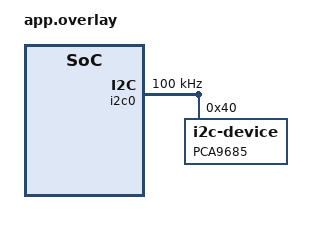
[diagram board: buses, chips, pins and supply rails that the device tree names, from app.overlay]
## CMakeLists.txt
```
cmake_minimum_required(VERSION 3.20.0)

find_package(Zephyr REQUIRED HINTS $ENV{ZEPHYR_BASE})

project(robot_arm_v3)

target_sources(app PRIVATE
    src/main.c
    src/servo.c
    src/servo_control.c
    src/wifi_manager.c
    src/tcp_transport.c
    src/websocket_layer.c
    src/app_callbacks.c
)
```

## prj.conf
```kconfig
# Enable I2C support
CONFIG_I2C=y

CONFIG_CBPRINTF_FP_SUPPORT=y

CONFIG_NETWORKING=y
CONFIG_NET_SOCKETS=y
# CONFIG_NET_SOCKETS_POSIX_NAMES=y
CONFIG_NET_IPV4=y
CONFIG_NET_TCP=y
CONFIG_NET_UDP=y

CONFIG_NET_CONNECTION_MANAGER=y
CONFIG_NET_DHCPV4=y

CONFIG_WIFI=y
CONFIG_WIFI_ESP32=y
CONFIG_MAIN_STACK_SIZE=10240
CONFIG_SYSTEM_WORKQUEUE_STACK_SIZE=8192
CONFIG_HEAP_MEM_POOL_SIZE=65536

CONFIG_LOG=n
CONFIG_PRINTK=y

CONFIG_SHELL=y
CONFIG_SHELL_BACKEND_SERIAL=y

CONFIG_NET_SHELL=y
CONFIG_NET_L2_WIFI_SHELL=y
```

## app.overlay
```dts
&i2c0 {
    status = "okay";
    clock-frequency = <I2C_BITRATE_STANDARD>;
    mysensor: mysensor@40 {
        status = "okay";
        compatible = "i2c-device";
        reg = <0x40>;
        label = "PCA9685";
    };
};
```

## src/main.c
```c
/* Robot Servo TCP firmware */

#include <zephyr/kernel.h>
#include <zephyr/sys/printk.h>

#include "app_callbacks.h"
#include "servo_control.h"
#include "tcp_transport.h"
#include "websocket_layer.h"
#include "wifi_manager.h"

#define TCP_LISTEN_PORT 4220

#define CONTROL_PERIOD_MS 10
#define CONTROL_THREAD_STACK_SIZE 2048
#define CONTROL_THREAD_PRIORITY 5

static K_SEM_DEFINE(control_tick_sem, 0, 1);
static struct k_timer control_timer;
static struct k_mutex control_lock;

K_THREAD_STACK_DEFINE(control_thread_stack, CONTROL_THREAD_STACK_SIZE);
static struct k_thread control_thread_data;

static void control_timer_handler(struct k_timer *timer_id)
{
	ARG_UNUSED(timer_id);
	k_sem_give(&control_tick_sem);
}

static void control_thread_fn(void *a, void *b, void *c)
{
	ARG_UNUSED(a);
	ARG_UNUSED(b);
	ARG_UNUSED(c);

	while (1) {
		k_sem_take(&control_tick_sem, K_FOREVER);

		k_mutex_lock(&control_lock, K_FOREVER);
		servo_control_update_outputs();
		k_mutex_unlock(&control_lock);
	}
}

int main(void)
{
	printk("Robot Servo firmware start\n");

	if (servo_control_init() != 0) {
		return -1;
	}

	if (wifi_manager_init() != 0) {
		return -1;
	}
	while (wifi_manager_connect() != 0) {
		printk("WiFi connect failed, retrying in 2 seconds...\n");
		k_sleep(K_SECONDS(2));
	}

	k_mutex_init(&control_lock);
	k_timer_init(&control_timer, control_timer_handler, NULL);

	/* Servo control thread, ticked every CONTROL_PERIOD_MS (10 ms = 100 Hz) */
	k_thread_create(&control_thread_data, control_thread_stack,
			K_THREAD_STACK_SIZEOF(control_thread_stack), control_thread_fn, NULL,
			NULL, NULL, CONTROL_THREAD_PRIORITY, 0, K_NO_WAIT);

	k_timer_start(&control_timer, K_NO_WAIT, K_MSEC(CONTROL_PERIOD_MS));

	app_ctx_t app_ctx = {
		.control_lock = &control_lock,
		.protocol_detected = false,
		.use_websocket = false,
		.ws_raw_len = 0,
		.ws_state = WS_STATE_CLOSED,
	};

	if (tcp_transport_start(TCP_LISTEN_PORT, app_on_tcp_connect, app_on_tcp_data,
				app_on_tcp_disconnect, &app_ctx) != 0) {
		return -1;
	}

	/* Heartbeat loop */
	while (1) {
		k_sleep(K_SECONDS(1));

		if (!wifi_manager_is_connected()) {
			printk("WiFi lost, reconnecting...\n");
			if (wifi_manager_reconnect_if_needed() == 0) {
				(void)tcp_transport_restart();
			}
		}
	}
}
```

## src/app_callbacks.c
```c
#include "app_callbacks.h"

#include <stdio.h>
#include <string.h>

#include <zephyr/kernel.h>
#include <zephyr/sys/printk.h>

#include "servo_control.h"
#include "tcp_transport.h"
#include "websocket_layer.h"

void handle_raw_packet(app_ctx_t *app, const uint8_t *data, size_t len);

/* Protocol V3 (FIRMWARE_CONTRACT.md rev 2): 19 bytes, XOR checksum, six
 * absolute servo angles (base|p1|p2|p3|roll|gripper). */
#define CONTROL_PACKET_MAGIC   0xA6U
#define CONTROL_PACKET_VERSION 0x03U
#define CONTROL_PACKET_LEN     19U
#define CONTROL_PACKET_MASK    0x3FU

static const char http_landing_page[] =
	"<!doctype html><html><head><meta charset=utf-8>"
	"<meta name=viewport content='width=device-width,initial-scale=1'>"
	"<title>Robot Arm V3</title>"
	"<style>body{font:16px sans-serif;margin:24px;background:#f4f7fb;color:#152033}"
	"button,input,select{font:inherit;margin:6px 0}label{display:block}#status{font-weight:700}"
	"</style></head><body><h1>Robot Arm V3</h1><p id=status>Disconnected</p>"
	"<button id=conn>Connect</button><button id=send disabled>Send packet</button>"
	"<label>Mode <select id=mode><option>A</option><option>H</option><option>M</option></select></label>"
	"<label>Base <input id=base type=range min=0 max=180 step=0.5 value=90></label>"
	"<label>P1 <input id=p1 type=range min=0 max=100 step=0.5 value=98></label>"
	"<label>P2 <input id=p2 type=range min=45 max=180 step=0.5 value=88></label>"
	"<label>P3 <input id=p3 type=range min=0 max=180 step=0.5 value=90></label>"
	"<label>Roll <input id=roll type=range min=0 max=180 step=0.5 value=90></label>"
	"<label>Gripper <input id=grip type=range min=36 max=166.5 step=0.5 value=166.5></label>"
	"<script>let ws,seq=0;const $=id=>document.getElementById(id),st=$('status'),btn=$('send');"
	"function q(v){v=Math.max(0,Math.min(180,Number(v)));return Math.round(v/180*65535);}"
	"function pkt(){const p=new Uint8Array(19),d=new DataView(p.buffer);p[0]=0xA6;p[1]=0x03;"
	"d.setUint16(2,seq=(seq+1)&65535);p[4]=$('mode').value.charCodeAt(0);p[5]=0x3F;"
	"const v=['base','p1','p2','p3','roll','grip'];"
	"for(let i=0;i<6;i++)d.setUint16(6+2*i,q($(v[i]).value));"
	"let c=0;for(let i=0;i<18;i++)c^=p[i];p[18]=c;return p;}"
	"$('conn').onclick=()=>{if(ws&&(ws.readyState===0||ws.readyState===1)){ws.close();return;}"
	"st.textContent='Connecting';ws=new WebSocket(`ws://${location.host}/`);ws.binaryType='arraybuffer';"
	"ws.onopen=()=>{st.textContent='Connected';btn.disabled=false;$('conn').textContent='Disconnect';};"
	"ws.onclose=()=>{st.textContent='Disconnected';btn.disabled=true;$('conn').textContent='Connect';};"
	"ws.onerror=()=>{st.textContent='Connection error';};};"
	"btn.onclick=()=>{if(ws&&ws.readyState===1)ws.send(pkt());};</script></body></html>";

static const char http_upgrade_hint[] =
	"Open http://<device-ip>:4210 in a browser, or use ws://<device-ip>:4210/ from a WebSocket client.\n";

static float qangle_to_float(uint16_t value)
{
	return ((float)value / 65535.0f) * 180.0f;
}

static bool packet_is_valid(const uint8_t *data, size_t len)
{
	if (len != CONTROL_PACKET_LEN)
	{
		return false;
	}
	if (data[0] != CONTROL_PACKET_MAGIC || data[1] != CONTROL_PACKET_VERSION)
	{
		return false;
	}
	char mode = (char)data[4];
	if (mode != 'A' && mode != 'H' && mode != 'M')
	{
		return false;
	}
	if (data[5] != CONTROL_PACKET_MASK)
	{
		return false;
	}

	uint8_t checksum = 0;
	for (size_t i = 0; i < CONTROL_PACKET_LEN - 1U; i++)
	{
		checksum ^= data[i];
	}
	if (checksum != data[CONTROL_PACKET_LEN - 1U])
	{
		return false;
	}
	return true;
}

static bool format_control_packet(const uint8_t *data, size_t len, char *buf, size_t buf_size)
{
	if (!packet_is_valid(data, len))
	{
		return false;
	}

	uint16_t sequence = ((uint16_t)data[2] << 8) | data[3];
	char mode = (char)data[4];
	float angle[6];

	for (int i = 0; i < 6; i++)
	{
		angle[i] = qangle_to_float(((uint16_t)data[6 + 2 * i] << 8) | data[7 + 2 * i]);
	}

	int written = snprintf(buf, buf_size,
			       "seq=%u mode=%c base=%.1f p1=%.1f p2=%.1f p3=%.1f roll=%.1f grip=%.1f",
			       (unsigned)sequence, mode, (double)angle[0], (double)angle[1],
			       (double)angle[2], (double)angle[3], (double)angle[4],
			       (double)angle[5]);
	return written > 0 && (size_t)written < buf_size;
}

static void drop_tcp_prefix(app_ctx_t *app, size_t shift)
{
	if (shift == 0)
	{
		return;
	}
	if (shift > app->tcp_raw_len)
	{
		shift = app->tcp_raw_len;
	}
	memmove(app->tcp_raw_buf, app->tcp_raw_buf + shift, app->tcp_raw_len - shift);
	app->tcp_raw_len -= shift;
}

static void drop_tcp_until_magic(app_ctx_t *app)
{
	size_t i = 0;

	while (i < app->tcp_raw_len && app->tcp_raw_buf[i] != CONTROL_PACKET_MAGIC)
	{
		i++;
	}

	if (i == app->tcp_raw_len)
	{
		app->tcp_raw_len = 0;
		return;
	}

	drop_tcp_prefix(app, i);
}

static void process_tcp_raw_stream(app_ctx_t *app, const uint8_t *data, size_t len)
{
	for (size_t n = 0; n < len; n++)
	{
		if (app->tcp_raw_len == sizeof(app->tcp_raw_buf))
		{
			drop_tcp_until_magic(app);
			if (app->tcp_raw_len == sizeof(app->tcp_raw_buf))
			{
				drop_tcp_prefix(app, 1);
			}
		}

		app->tcp_raw_buf[app->tcp_raw_len++] = data[n];

		while (app->tcp_raw_len >= CONTROL_PACKET_LEN)
		{
			drop_tcp_until_magic(app);
			if (app->tcp_raw_len < CONTROL_PACKET_LEN)
			{
				break;
			}

			if (packet_is_valid(app->tcp_raw_buf, CONTROL_PACKET_LEN))
			{
				handle_raw_packet(app, app->tcp_raw_buf, CONTROL_PACKET_LEN);
				drop_tcp_prefix(app, CONTROL_PACKET_LEN);
				continue;
			}

			/* Bad frame at a magic byte: advance to the next possible frame.
			 * Dropping at least one byte avoids livelock on a corrupt packet. */
			size_t shift = 1;
			while (shift < app->tcp_raw_len &&
			       app->tcp_raw_buf[shift] != CONTROL_PACKET_MAGIC)
			{
				shift++;
			}
			drop_tcp_prefix(app, shift);
		}
	}
}

void handle_raw_packet(app_ctx_t *app, const uint8_t *data, size_t len)
{
	k_mutex_lock(app->control_lock, K_FOREVER);
	bool ok = servo_control_apply_packet(data, (int)len);
	k_mutex_unlock(app->control_lock);

	if (!ok)
	{
		char packet_desc[128];

		if (format_control_packet(data, len, packet_desc, sizeof(packet_desc)))
		{
			printk("packet rejected: %s\n", packet_desc);
		}
		else
		{
			printk("packet rejected: invalid frame len=%u\n", (unsigned)len);
		}
	}
}

void app_on_tcp_connect(void *ctx)
{
	app_ctx_t *app = (app_ctx_t *)ctx;
	app->protocol_detected = false;
	app->use_websocket = false; // Will be detected on first data
	app->ws_state = WS_STATE_CLOSED;
	app->ws_raw_len = 0;
	app->tcp_raw_len = 0;
}

void app_on_tcp_disconnect(void *ctx)
{
	app_ctx_t *app = (app_ctx_t *)ctx;
	bool websocket_connected = app->use_websocket && app->ws_state == WS_STATE_OPEN;

	app->protocol_detected = false;
	app->use_websocket = false;
	app->ws_state = WS_STATE_CLOSED;
	app->ws_raw_len = 0;
	app->tcp_raw_len = 0;
	if (websocket_connected)
	{
		printk("WebSocket client disconnected\n");
	}
}

void app_on_tcp_data(const uint8_t *data, size_t len, void *ctx)
{
	app_ctx_t *app = (app_ctx_t *)ctx;
	char sec_key[80];
	bool data_already_buffered = false;

	sec_key[0] = '\0';

	if (!app->protocol_detected)
	{
		if (len > sizeof(app->ws_raw_buf) - app->ws_raw_len)
		{
			printk("tcp: pre-detect buf full, drop\n");
			tcp_transport_disconnect_client();
			return;
		}

		memcpy(&app->ws_raw_buf[app->ws_raw_len], data, len);
		app->ws_raw_len += len;
		data_already_buffered = true;

		/* WebSocket starts with "GET ". Raw V3 starts binary; tolerate a
		 * split HTTP request line before committing to raw TCP. */
		if (app->ws_raw_len < 4U && memcmp(app->ws_raw_buf, "GET ", app->ws_raw_len) == 0)
		{
			return;
		}

		if (app->ws_raw_len >= 4U && memcmp(app->ws_raw_buf, "GET ", 4) == 0)
		{
			app->use_websocket = true;
			app->ws_state = WS_STATE_HANDSHAKE;
			printk("ws: detected handshake\n");
		}
		else
		{
			app->use_websocket = false;
			printk("tcp: raw stream\n");
			process_tcp_raw_stream(app, app->ws_raw_buf, app->ws_raw_len);
			app->ws_raw_len = 0;
			app->protocol_detected = true;
			return;
		}
		app->protocol_detected = true;
	}

	if (!app->use_websocket)
	{
		process_tcp_raw_stream(app, data, len);
		return;
	}

	if (!data_already_buffered)
	{
		/* Check WebSocket buffer - if full, disconnect to free resources */
		if (len > sizeof(app->ws_raw_buf) - app->ws_raw_len)
		{
			printk("ws: buf full, drop\n");
			tcp_transport_disconnect_client();
			return;
		}

		memcpy(&app->ws_raw_buf[app->ws_raw_len], data, len);
		app->ws_raw_len += len;
	}

	if (app->ws_state == WS_STATE_HANDSHAKE)
	{
		int kind = ws_classify_request(app->ws_raw_buf, app->ws_raw_len, sec_key,
					       sizeof(sec_key));

		if (kind == WS_REQUEST_INCOMPLETE)
		{
			return;
		}

		if (kind == WS_REQUEST_WEBSOCKET)
		{
			int hs = ws_build_handshake_response(sec_key, app->ws_tx_buf,
							     sizeof(app->ws_tx_buf));

			if (hs < 0)
			{
				printk("ws: handshake response failed\n");
				tcp_transport_disconnect_client();
				return;
			}

			(void)tcp_transport_send(app->ws_tx_buf, (size_t)hs);
			app->ws_state = WS_STATE_OPEN;
			app->ws_raw_len = 0;
			printk("WebSocket client connected\n");
			return;
		}

		if (kind == WS_REQUEST_HTTP)
		{
			int hs = ws_build_http_response_headers(app->ws_tx_buf, sizeof(app->ws_tx_buf),
								"200 OK", "text/html; charset=UTF-8",
								sizeof(http_landing_page) - 1U);

			if (hs < 0)
			{
				printk("http: response header build failed\n");
				tcp_transport_disconnect_client();
				return;
			}

			(void)tcp_transport_send(app->ws_tx_buf, (size_t)hs);
			(void)tcp_transport_send((const uint8_t *)http_landing_page,
						 sizeof(http_landing_page) - 1U);
			tcp_transport_disconnect_client();
			return;
		}

		printk("ws: handshake failed\n");
		{
			int hs = ws_build_http_response_headers(app->ws_tx_buf, sizeof(app->ws_tx_buf),
								"426 Upgrade Required",
								"text/plain; charset=UTF-8",
								sizeof(http_upgrade_hint) - 1U);

			if (hs >= 0)
			{
				(void)tcp_transport_send(app->ws_tx_buf, (size_t)hs);
				(void)tcp_transport_send((const uint8_t *)http_upgrade_hint,
							 sizeof(http_upgrade_hint) - 1U);
			}
		}
		tcp_transport_disconnect_client();
		return;
	}

	if (app->ws_state != WS_STATE_OPEN)
	{
		return;
	}

	while (app->ws_raw_len > 0)
	{
		int pay = ws_parse_frame(app->ws_raw_buf, app->ws_raw_len, app->ws_payload_buf,
					 sizeof(app->ws_payload_buf), NULL);
		if (pay == 0)
		{
			return;
		}
		if (pay == -1)
		{
			tcp_transport_disconnect_client();
			return;
		}
		if (pay < 0)
		{
			app->ws_raw_len = 0;
			return;
		}

		size_t consumed = 2;
		uint8_t b1 = app->ws_raw_buf[1];
		uint64_t pl = (uint64_t)(b1 & 0x7F);
		if (pl == 126)
		{
			consumed += 2;
			pl = ((uint64_t)app->ws_raw_buf[2] << 8) | app->ws_raw_buf[3];
		}
		else if (pl == 127)
		{
			consumed += 8;
			pl = 0;
			for (int i = 0; i < 8; i++)
			{
				pl = (pl << 8) | app->ws_raw_buf[2 + i];
			}
		}
		if ((b1 & 0x80) != 0)
		{
			consumed += 4;
		}
		consumed += (size_t)pl;

		if (consumed > app->ws_raw_len)
		{
			app->ws_raw_len = 0;
			return;
		}

		handle_raw_packet(app, app->ws_payload_buf, (size_t)pay);

		memmove(app->ws_raw_buf, &app->ws_raw_buf[consumed], app->ws_raw_len - consumed);
		app->ws_raw_len -= consumed;
	}
}
```

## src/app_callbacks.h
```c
#pragma once

#include <stdbool.h>
#include <stddef.h>
#include <stdint.h>

struct k_mutex;

typedef struct {
	struct k_mutex *control_lock;
	bool use_websocket;
	bool protocol_detected;

	/* TCP raw stream reassembly: 64 bytes holds 3 complete 19-byte V3 packets */
	uint8_t tcp_raw_buf[64];
	size_t tcp_raw_len;

	/* WebSocket frame reassembly */
	uint8_t ws_raw_buf[1024];
	size_t ws_raw_len;

	/* WebSocket handshake / HTTP response headers */
	uint8_t ws_tx_buf[256];

	/* Decoded WS payload (one 19-byte packet + margin) */
	uint8_t ws_payload_buf[256];
	int ws_state; /* ws_state_t */
} app_ctx_t;

void app_on_tcp_data(const uint8_t *data, size_t len, void *ctx);
void app_on_tcp_connect(void *ctx);
void app_on_tcp_disconnect(void *ctx);
```

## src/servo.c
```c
#include "servo.h"

#include <zephyr/device.h>
#include <zephyr/drivers/i2c.h>
#include <zephyr/kernel.h>
#include <zephyr/sys/printk.h>
#include <string.h>

/* ================= CONFIG ================= */

#define I2C0_NODE DT_NODELABEL(i2c0)
#define PCA9685_ADDR 0x40

#define MODE1 0x00
#define MODE2 0x01
#define PRESCALE 0xFE
#define LED0_ON_L 0x06

#define SERVO_FREQ_HZ 300.0f
#define SERVO_MIN_PULSE_US 500.0f
#define SERVO_MAX_PULSE_US 2500.0f
#define I2C_RETRY 3

/* ================= GLOBAL ================= */

static const struct device *i2c_dev = DEVICE_DT_GET(I2C0_NODE);
static uint16_t last_pwm[16]; // jitter reduction

/* ================= LOW LEVEL ================= */

static int write_reg(uint8_t reg, uint8_t val)
{
    uint8_t buf[2] = {reg, val};

    for (int i = 0; i < I2C_RETRY; i++)
    {
        if (i2c_write(i2c_dev, buf, 2, PCA9685_ADDR) == 0)
            return 0;

        k_usleep(500);
    }

    return -1;
}

static int read_reg(uint8_t reg, uint8_t *val)
{
    for (int i = 0; i < I2C_RETRY; i++)
    {
        if (i2c_write_read(i2c_dev, PCA9685_ADDR, &reg, 1, val, 1) == 0)
            return 0;

        k_usleep(500);
    }

    return -1;
}

static int pca9685_probe(void)
{
    uint8_t val;
    return read_reg(MODE1, &val);
}

/* ================= PCA9685 ================= */

static int set_pwm(uint8_t ch, uint16_t val)
{
    if (ch > 15)
        return -1;

    /* Skip identical value to reduce I2C traffic */
    if (last_pwm[ch] == val)
        return 0;

    uint8_t reg = LED0_ON_L + (4 * ch);

    uint8_t buf[5] =
    {
        reg,

        /* ON = 0 */
        0x00,
        0x00,

        /* OFF */
        (uint8_t)(val & 0xFF),
        (uint8_t)((val >> 8) & 0x0F)
    };

    for (int i = 0; i < I2C_RETRY; i++)
    {
        if (i2c_write(i2c_dev, buf, sizeof(buf), PCA9685_ADDR) == 0)
        {
            last_pwm[ch] = val;
            return 0;
        }

        k_usleep(500);
    }

    return -1;
}

/* ================= INIT ================= */
int servo_init(void)
{
    if (!device_is_ready(i2c_dev))
    {
        printk("I2C not ready\n");
        return -1;
    }

    if (pca9685_probe() != 0)
    {
        printk("PCA9685 not detected\n");
        return -1;
    }

    printk("PCA9685 detected");

    /* Reset */
    if (write_reg(MODE1, 0x00) != 0)
        return -1;
    k_msleep(10);

    /* Enable Auto Increment */
    if (write_reg(MODE1, 0x20) != 0)
        return -1;
    k_msleep(10);

    /* Output driver */
    if (write_reg(MODE2, 0x04) != 0)
        return -1;

    /* ---------- Frequency Setup ---------- */

    float freq = SERVO_FREQ_HZ;

    if (freq < 24.0f)
        freq = 24.0f;

    if (freq > 1526.0f)
        freq = 1526.0f;

    uint8_t prescale =
        (uint8_t)(25000000.0f /
                  (4096.0f * freq) -
                  1.0f +
                  0.5f);

    uint8_t oldmode;

    if (read_reg(MODE1, &oldmode) != 0)
        return -1;

    /* Sleep */
    uint8_t sleepmode =
        (oldmode & ~0x80) |
        0x10;

    if (write_reg(MODE1, sleepmode) != 0)
        return -1;

    if (write_reg(PRESCALE, prescale) != 0)
        return -1;

    k_msleep(5);

    /* Wake + Auto Increment */

    uint8_t wakemode =
        (oldmode & ~0x10) |
        0x20;

    if (write_reg(MODE1, wakemode) != 0)
        return -1;

    k_msleep(5);

    /* Restart */

    if (write_reg(MODE1, wakemode | 0x80) != 0)
        return -1;

    memset(last_pwm, 0xFF, sizeof(last_pwm));

    printk("PCA9685 initialized (%.1f Hz)\n",
           (double)SERVO_FREQ_HZ);

    return 0;
}

/* ================= HIGH LEVEL ================= */

int servo_set_pulse(uint8_t channel, uint16_t pulse_us)
{
    if (channel > 15U)
        return -1;

    if (pulse_us < (uint16_t)SERVO_MIN_PULSE_US)
        pulse_us = (uint16_t)SERVO_MIN_PULSE_US;
    if (pulse_us > (uint16_t)SERVO_MAX_PULSE_US)
        pulse_us = (uint16_t)SERVO_MAX_PULSE_US;

    float tick = ((float)pulse_us * SERVO_FREQ_HZ * 4096.0f) / 1000000.0f;
    uint16_t pwm = (uint16_t)(tick + 0.5f);

    if (pwm > 4095)
        pwm = 4095;

    return set_pwm(channel, pwm);
}
```

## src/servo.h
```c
#ifndef SERVO_H
#define SERVO_H

#include <stdint.h>

#define SERVO_CHANNELS 6

int servo_init(void);
int servo_set_pulse(uint8_t channel, uint16_t pulse_us);

#endif
```

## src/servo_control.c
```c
/* Servo control for the 6-DOF arm — protocol V3 (FIRMWARE_CONTRACT.md rev 2).
 *
 * Every packet channel is an ABSOLUTE servo angle in [0,180] degrees,
 * including the gripper (open=166.5, closed=36.0) and p2 (pre-flipped by the
 * host — do NOT invert it here). The base is an absolute position; the old
 * V2 velocity integration is gone.
 *
 * Modes:  'A' track the packet angles   'H' hold the last commanded pose
 *         'M' move to the home pose with the slow profile
 * Watchdog (1000 ms without a valid packet) behaves exactly like 'H'. It is a
 * link-loss stop, NOT a stream-pacing check: the host camera loop can hiccup
 * for a few hundred ms (MediaPipe, OS scheduling) and that must not trip it —
 * the profile already settles smoothly on the last target by itself.
 *
 * MOTION PROFILES (compile-time selectable, test one at a time):
 *   PROFILE_TRAPEZOID — legacy baseline. Stop-distance braking. When chasing
 *       a STREAMED (moving) target it limit-cycles: catch up -> enter braking
 *       distance -> brake -> target pulls ahead -> re-accelerate. That is the
 *       "accelerate, slow, accelerate" seen on large p1/p2/p3 moves.
 *   PROFILE_S_CURVE  — default. Jerk-limited with TARGET-VELOCITY FEEDFORWARD:
 *       commanded velocity = target_velocity + sqrt-approach(error). Tracks a
 *       moving target at the target's own speed (no re-planned stops), lands
 *       on a stationary target critically damped. Smoothest under load.
 *   PROFILE_EXP_TRACK — first-order tracker (vel = gain*error + feedforward),
 *       acceleration-limited. Never overshoots; simplest fallback.
 */

#include <math.h>
#include <stdbool.h>
#include <stdint.h>

#include <zephyr/kernel.h>
#include <zephyr/sys/printk.h>

#include "servo.h"
#include "servo_control.h"

#define NUM_SERVOS 6 /* packet/channel order: base, p1, p2, p3, roll, gripper */

#define WATCHDOG_TIMEOUT_MS 1000

/* ================ MOTION PROFILE SELECTION ================ */
#define PROFILE_TRAPEZOID 0
#define PROFILE_S_CURVE 1
#define PROFILE_EXP_TRACK 2

#ifndef PROFILE_MODE
#define PROFILE_MODE PROFILE_S_CURVE
#endif

#define EXP_TRACK_GAIN 5.0f /* 1/s, PROFILE_EXP_TRACK only */

/* Low-rate motion diagnostics (2 Hz, only while moving). 0 to silence. */
#ifndef MOTION_DIAG
#define MOTION_DIAG 1
#endif

/* ================ V3 PACKET ================ */
#define PKT_MAGIC 0xA6U
#define PKT_VERSION 0x03U
#define PKT_LEN 19
#define PKT_MASK_ALL 0x3FU

/* ================ PER-JOINT LIMITS (deg) ================ */
static const float joint_min_deg[NUM_SERVOS] = {0.0f, 0.0f, 45.0f, 0.0f, 0.0f, 36.0f};
static const float joint_max_deg[NUM_SERVOS] = {180.0f, 100.0f, 180.0f, 180.0f, 180.0f, 166.5f};

/* Energy-efficient park position. The arm is expected to be physically parked
 * here at power-up, so commanding it at boot produces no snap. */
static const float home_pose_deg[NUM_SERVOS] = {90.0f, 98.1f, 88.2f, 90.0f, 90.0f, 166.5f};

/* ================ PER-JOINT MOTION TUNING ================
 * Loaded joints get gentler limits: p1 carries the arm (60 kgcm servo but the
 * full link inertia), p2 couples with BOTH p1 and p3 so it gets the lowest
 * acceleration, p3 is medium. base/roll/grip are lightly loaded. */
struct joint_profile {
	float max_vel;  /* deg/s   */
	float max_acc;  /* deg/s^2 */
	float max_jerk; /* deg/s^3 (s-curve only) */
};

static const struct joint_profile joint_profiles[NUM_SERVOS] = {
	{60.0f, 150.0f, 900.0f},   /* base */
	{45.0f, 90.0f, 450.0f},    /* p1 (loaded) */
	{40.0f, 60.0f, 300.0f},    /* p2 (lowest accel: couples p1+p3) */
	{50.0f, 110.0f, 600.0f},   /* p3 */
	{80.0f, 200.0f, 1200.0f},  /* roll */
	{100.0f, 400.0f, 2500.0f}, /* gripper */
};

#define HOME_SPEED_DEG_S 10.0f    /* velocity cap for mode 'M' and boot */
#define TARGET_DEADBAND_DEG 0.2f  /* ignore sub-quantization target flicker */
#define TARGET_VEL_LP_ALPHA 0.35f /* feedforward estimator smoothing */
#define APPROACH_GAIN 4.0f        /* 1/s, proportional landing zone (s-curve) */

/* Uniform pulse map: 0..180 deg -> 500..2500 us on every channel. */
#define SERVO_MIN_US 500.0f
#define SERVO_MAX_US 2500.0f

struct joint_state {
	float pos;        /* profiled output angle */
	float vel;        /* profiled velocity */
	float acc;        /* trapezoid accel state (baseline mode only) */
	float v_cmd;      /* s-curve: lagged velocity command (accel shaping) */
	float target;     /* latest commanded angle */
	float target_vel; /* low-passed target velocity (feedforward) */
};

static struct joint_state joints[NUM_SERVOS];

static uint16_t last_sequence;
static char last_mode = 'M';
static bool got_first_packet;
static bool watchdog_logged;
static int64_t last_packet_ms;
static int64_t last_update_ms;

/* ================ HELPERS ================ */
static float clampf(float value, float lo, float hi)
{
	if (value < lo) {
		return lo;
	}
	if (value > hi) {
		return hi;
	}
	return value;
}

static uint16_t read_u16_be(const uint8_t *p)
{
	return (uint16_t)(((uint16_t)p[0] << 8) | (uint16_t)p[1]);
}

static float dequantize_angle(uint16_t q)
{
	return ((float)q / 65535.0f) * 180.0f;
}

static uint16_t angle_to_pulse_us(float pos_deg)
{
	float us = SERVO_MIN_US + (pos_deg / 180.0f) * (SERVO_MAX_US - SERVO_MIN_US);
	return (uint16_t)(us + 0.5f); /* round — truncation causes 1-us flicker */
}

/* ================ PROFILE STEPS (one joint, one tick) ================ */

/* Legacy baseline. Kept for A/B testing; see header comment for its flaw. */
static void step_trapezoid(struct joint_state *st, const struct joint_profile *p,
			   float vcap, float dt)
{
	float error = st->target - st->pos;

	if (fabsf(error) < 0.5f && fabsf(st->vel) < 1.0f) {
		st->pos = st->target;
		st->vel = 0.0f;
		st->acc = 0.0f;
		return;
	}

	float stop_distance = (st->vel * st->vel) / (2.0f * p->max_acc);
	float accel;

	if (fabsf(error) <= stop_distance) {
		accel = (st->vel > 0.0f) ? -p->max_acc : p->max_acc;
	} else {
		accel = (error > 0.0f) ? p->max_acc : -p->max_acc;
	}

	st->vel = clampf(st->vel + accel * dt, -vcap, vcap);
	st->pos += st->vel * dt;
}

/* S-curve feedforward tracking (default).
 *
 * All-LINEAR in steady tracking, so it cannot limit-cycle (a hard jerk rate
 * limiter inside the loop is itself a limit-cycle generator — verified by the
 * host-side regression test). The velocity command is lagged by acc/jerk,
 * which shapes acceleration into an S; the hard accel cap is only a safety
 * clip that engages during big transients. */
static void step_s_curve(struct joint_state *st, const struct joint_profile *p,
			 float vcap, float dt)
{
	float error = st->target - st->pos;
	float tv = clampf(st->target_vel, -vcap, vcap);

	/* snap only when everything — including the target itself — is quiet */
	if (fabsf(error) < 0.25f && fabsf(st->vel) < 1.0f && fabsf(tv) < 1.0f) {
		st->pos = st->target;
		st->vel = 0.0f;
		st->v_cmd = 0.0f;
		return;
	}

	/* approach: sqrt far out (time-optimal-ish), proportional near zero */
	float abs_e = fabsf(error);
	float approach = fminf(sqrtf(2.0f * (0.5f * p->max_acc) * abs_e), APPROACH_GAIN * abs_e);
	float v_des = clampf(tv + ((error > 0.0f) ? approach : -approach), -vcap, vcap);

	/* linear accel shaping (the S), then the hard accel safety clip */
	float lag_tc = clampf(p->max_acc / p->max_jerk, 0.04f, 0.12f);

	st->v_cmd += (v_des - st->v_cmd) * fminf(1.0f, dt / lag_tc);
	float dv = clampf(st->v_cmd - st->vel, -p->max_acc * dt, p->max_acc * dt);

	st->vel = clampf(st->vel + dv, -vcap, vcap);
	st->pos += st->vel * dt;
}

/* First-order tracker: never overshoots, exponential landing. */
static void step_exp_track(struct joint_state *st, const struct joint_profile *p,
			   float vcap, float dt)
{
	float error = st->target - st->pos;
	float tv = clampf(st->target_vel, -vcap, vcap);

	if (fabsf(error) < 0.15f && fabsf(st->vel) < 1.0f && fabsf(tv) < 1.0f) {
		st->pos = st->target;
		st->vel = 0.0f;
		st->acc = 0.0f;
		return;
	}

	float v_des = clampf(tv + EXP_TRACK_GAIN * error, -vcap, vcap);
	float dv = clampf(v_des - st->vel, -p->max_acc * dt, p->max_acc * dt);

	st->vel += dv;
	st->pos += st->vel * dt;
}

/* ================ PACKET INTAKE ================ */
bool servo_control_apply_packet(const uint8_t *buf, int len)
{
	if (len != PKT_LEN) {
		return false;
	}
	if (buf[0] != PKT_MAGIC || buf[1] != PKT_VERSION) {
		return false;
	}

	char mode = (char)buf[4];

	if (mode != 'A' && mode != 'H' && mode != 'M') {
		return false;
	}
	if (buf[5] != PKT_MASK_ALL) {
		return false;
	}

	uint8_t checksum = 0;

	for (int i = 0; i < PKT_LEN - 1; i++) {
		checksum ^= buf[i];
	}
	if (checksum != buf[PKT_LEN - 1]) {
		return false;
	}

	int64_t now_ms = k_uptime_get();
	/* time since the previous accepted packet, for the feedforward estimate */
	float pkt_dt = (float)(now_ms - last_packet_ms) * 0.001f;

	pkt_dt = clampf(pkt_dt, 0.01f, 0.2f);

	last_sequence = read_u16_be(&buf[2]);
	last_mode = mode;
	last_packet_ms = now_ms;
	watchdog_logged = false;

	if (mode == 'A') {
		for (int i = 0; i < NUM_SERVOS; i++) {
			float angle = dequantize_angle(read_u16_be(&buf[6 + 2 * i]));

			angle = clampf(angle, joint_min_deg[i], joint_max_deg[i]);
			if (fabsf(angle - joints[i].target) >= TARGET_DEADBAND_DEG) {
				if (got_first_packet) {
					float raw_tv = (angle - joints[i].target) / pkt_dt;

					joints[i].target_vel +=
						TARGET_VEL_LP_ALPHA *
						(raw_tv - joints[i].target_vel);
				}
				joints[i].target = angle;
			}
		}
	} else if (mode == 'M') {
		for (int i = 0; i < NUM_SERVOS; i++) {
			joints[i].target = home_pose_deg[i];
			joints[i].target_vel = 0.0f;
		}
	}
	/* 'H': hold — leave the current targets untouched. */

	got_first_packet = true;
	return true;
}

/* ================ 100 Hz CONTROL LOOP ================ */
void servo_control_update_outputs(void)
{
	int64_t now_ms = k_uptime_get();
	float dt = (float)(now_ms - last_update_ms) * 0.001f;

	last_update_ms = now_ms;
	if (dt <= 0.0f || dt > 0.05f) {
		dt = 0.01f;
	}

	int64_t since_packet = now_ms - last_packet_ms;

	/* Watchdog == mode 'H': targets stay where they are; log the event once. */
	if (got_first_packet && !watchdog_logged && since_packet > WATCHDOG_TIMEOUT_MS) {
		printk("watchdog: no packet for %d ms, holding pose\n", WATCHDOG_TIMEOUT_MS);
		watchdog_logged = true;
	}

	/* No fresh packets -> the target is no longer moving: decay feedforward
	 * so the profile settles instead of coasting on a stale estimate. */
	bool stream_stale = (!got_first_packet) || since_packet > 150;

	/* Slow cap while parking (mode 'M') or before the first packet. */
	bool slow_cap = (last_mode == 'M') || !got_first_packet;

	for (int i = 0; i < NUM_SERVOS; i++) {
		struct joint_state *st = &joints[i];
		const struct joint_profile *p = &joint_profiles[i];

		if (stream_stale) {
			st->target_vel *= 0.85f;
		}

		float vcap = slow_cap ? fminf(HOME_SPEED_DEG_S, p->max_vel) : p->max_vel;

#if PROFILE_MODE == PROFILE_TRAPEZOID
		step_trapezoid(st, p, vcap, dt);
#elif PROFILE_MODE == PROFILE_EXP_TRACK
		step_exp_track(st, p, vcap, dt);
#else
		step_s_curve(st, p, vcap, dt);
#endif

		/* hard limit + anti-windup: never integrate velocity into a wall */
		float bounded = clampf(st->pos, joint_min_deg[i], joint_max_deg[i]);

		if (bounded != st->pos) {
			st->pos = bounded;
			st->vel = 0.0f;
			st->acc = 0.0f;
			st->v_cmd = 0.0f;
		}

		servo_set_pulse((uint8_t)i, angle_to_pulse_us(st->pos));
	}

#if MOTION_DIAG
	{
		static int64_t last_diag_ms;
		bool moving = false;

		for (int i = 1; i <= 3; i++) { /* p1..p3 */
			if (fabsf(joints[i].target - joints[i].pos) > 0.5f) {
				moving = true;
				break;
			}
		}
		if (moving && (now_ms - last_diag_ms) >= 500) {
			last_diag_ms = now_ms;
			printk("MOTION: p1 t=%.1f c=%.1f v=%.1f | p2 t=%.1f c=%.1f v=%.1f | "
			       "p3 t=%.1f c=%.1f v=%.1f\n",
			       (double)joints[1].target, (double)joints[1].pos,
			       (double)joints[1].vel, (double)joints[2].target,
			       (double)joints[2].pos, (double)joints[2].vel,
			       (double)joints[3].target, (double)joints[3].pos,
			       (double)joints[3].vel);
		}
	}
#endif

	servo_control_print_teleop_state();
}

int servo_control_init(void)
{
	int init_ret = -1;

	for (int attempt = 1; attempt <= 5; attempt++) {
		init_ret = servo_init();
		if (init_ret == 0) {
			break;
		}
		k_msleep(200);
	}
	if (init_ret != 0) {
		printk("servo_init failed\n");
		return -1;
	}

	/* Engage every servo at the home pose (== physical park position, so no
	 * snap), then hold. The host confirms with mode 'M' once it connects. */
	for (int i = 0; i < NUM_SERVOS; i++) {
		joints[i].pos = home_pose_deg[i];
		joints[i].vel = 0.0f;
		joints[i].acc = 0.0f;
		joints[i].v_cmd = 0.0f;
		joints[i].target = home_pose_deg[i];
		joints[i].target_vel = 0.0f;
		servo_set_pulse((uint8_t)i, angle_to_pulse_us(home_pose_deg[i]));
	}

	k_msleep(500); /* let the servos engage and settle */

	last_packet_ms = k_uptime_get();
	last_update_ms = last_packet_ms;
	printk("servo_control: V3 ready (profile=%d), parked at home\n", (int)PROFILE_MODE);
	return 0;
}

/* ================ LOGGING (rate-limited, change-gated) ================ */
void servo_control_print_teleop_state(void)
{
	static float prev_target[NUM_SERVOS] = {-1000.0f, -1000.0f, -1000.0f,
						-1000.0f, -1000.0f, -1000.0f};
	static char prev_mode = '\0';
	static int64_t last_print_ms;

	int64_t now_ms = k_uptime_get();

	if (now_ms - last_print_ms < 250) {
		return; /* never log faster than 4 Hz — keeps the control loop clean */
	}

	bool changed = (last_mode != prev_mode);

	for (int i = 0; i < NUM_SERVOS && !changed; i++) {
		if (fabsf(joints[i].target - prev_target[i]) > 0.25f) {
			changed = true;
		}
	}
	if (!changed) {
		return;
	}

	last_print_ms = now_ms;
	prev_mode = last_mode;
	for (int i = 0; i < NUM_SERVOS; i++) {
		prev_target[i] = joints[i].target;
	}

	// printk("STATE: base=%.1f p1=%.1f p2=%.1f p3=%.1f roll=%.1f grip=%.1f mode=%c seq=%u\n",
	//        (double)joints[0].target, (double)joints[1].target, (double)joints[2].target,
	//        (double)joints[3].target, (double)joints[4].target, (double)joints[5].target,
	//        last_mode, (unsigned)last_sequence);
}

uint32_t servo_control_last_sequence(void)
{
	return last_sequence;
}

char servo_control_last_mode(void)
{
	return last_mode;
}
```

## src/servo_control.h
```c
#ifndef SERVO_CONTROL_H
#define SERVO_CONTROL_H

#include <stdbool.h>
#include <stdint.h>

int servo_control_init(void);
bool servo_control_apply_packet(const uint8_t *buf, int len);
void servo_control_update_outputs(void);
void servo_control_print_teleop_state(void);
uint32_t servo_control_last_sequence(void);
char servo_control_last_mode(void);


#endif
```

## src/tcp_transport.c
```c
#include "tcp_transport.h"

#include <errno.h>

#include <zephyr/kernel.h>
#include <zephyr/net/socket.h>
#include <zephyr/sys/printk.h>

#ifndef TCP_RX_BUFFER_SIZE
#define TCP_RX_BUFFER_SIZE 2048
#endif

#ifndef TCP_RX_THREAD_STACK_SIZE
#define TCP_RX_THREAD_STACK_SIZE 6144
#endif

#ifndef TCP_RX_THREAD_PRIORITY
#define TCP_RX_THREAD_PRIORITY 6
#endif

static int server_sock = -1;
static int client_sock = -1;

static uint16_t listen_port;
static tcp_on_connect_cb_t cb_connect;
static tcp_on_data_cb_t cb_data;
static tcp_on_disconnect_cb_t cb_disconnect;
static void *cb_user_ctx;

static atomic_t running;

K_THREAD_STACK_DEFINE(rx_thread_stack, TCP_RX_THREAD_STACK_SIZE);
static struct k_thread rx_thread_data;
static k_tid_t rx_tid;

static int server_open(uint16_t port)
{
	if (server_sock >= 0) {
		zsock_close(server_sock);
		server_sock = -1;
	}

	server_sock = zsock_socket(AF_INET, SOCK_STREAM, IPPROTO_TCP);
	if (server_sock < 0) {
		printk("tcp_transport: socket failed: %d\n", errno);
		return -errno;
	}

	struct sockaddr_in addr = {
		.sin_family = AF_INET,
		.sin_port = htons(port),
		.sin_addr.s_addr = INADDR_ANY,
	};

	if (zsock_bind(server_sock, (struct sockaddr *)&addr, sizeof(addr)) != 0) {
		printk("tcp_transport: bind failed: %d\n", errno);
		zsock_close(server_sock);
		server_sock = -1;
		return -errno;
	}

	if (zsock_listen(server_sock, 1) != 0) {
		printk("tcp_transport: listen failed: %d\n", errno);
		zsock_close(server_sock);
		server_sock = -1;
		return -errno;
	}

	printk("tcp_transport: listening on port %u\n", port);
	return 0;
}

static void close_client(void)
{
	if (client_sock >= 0) {
		zsock_close(client_sock);
		client_sock = -1;
	}
}

void tcp_transport_disconnect_client(void)
{
	close_client();
}

static void rx_thread_fn(void *a, void *b, void *c)
{
	ARG_UNUSED(a);
	ARG_UNUSED(b);
	ARG_UNUSED(c);

	uint8_t rx_buffer[TCP_RX_BUFFER_SIZE];

	while (atomic_get(&running)) {
		struct sockaddr_in client_addr;
		socklen_t addrlen = sizeof(client_addr);

		printk("tcp_transport: waiting for client...\n");
		int cs = zsock_accept(server_sock, (struct sockaddr *)&client_addr, &addrlen);
		if (cs < 0) {
			if (!atomic_get(&running)) {
				break;
			}
			continue;
		}

		client_sock = cs;

		/* Evict silent clients: the host streams continuously (>= 30 Hz),
		 * so 5 s without a byte means a dead/ghost peer (e.g. a crashed
		 * host that never sent FIN). Without this, one stale connection
		 * blocks the accept loop forever and NEW clients can never join. */
		struct zsock_timeval rcvto = {.tv_sec = 5, .tv_usec = 0};

		zsock_setsockopt(client_sock, SOL_SOCKET, SO_RCVTIMEO, &rcvto, sizeof(rcvto));

		if (cb_connect) {
			cb_connect(cb_user_ctx);
		}

		while (atomic_get(&running)) {
			int n = zsock_recv(client_sock, rx_buffer, sizeof(rx_buffer), 0);
			if (n <= 0) {
				close_client();
				if (cb_disconnect) {
					cb_disconnect(cb_user_ctx);
				}
				break;
			}

			if (cb_data) {
				cb_data(rx_buffer, (size_t)n, cb_user_ctx);
			}
		}

		close_client();
	}

	close_client();
	if (server_sock >= 0) {
		zsock_close(server_sock);
		server_sock = -1;
	}
}

int tcp_transport_start(uint16_t port, tcp_on_connect_cb_t on_connect, tcp_on_data_cb_t on_data,
			tcp_on_disconnect_cb_t on_disconnect, void *user_ctx)
{
	if (atomic_get(&running)) {
		return -EALREADY;
	}

	listen_port = port;
	cb_connect = on_connect;
	cb_data = on_data;
	cb_disconnect = on_disconnect;
	cb_user_ctx = user_ctx;

	int rc = server_open(port);
	if (rc != 0) {
		return rc;
	}

	atomic_set(&running, 1);
	rx_tid = k_thread_create(&rx_thread_data, rx_thread_stack,
				 K_THREAD_STACK_SIZEOF(rx_thread_stack), rx_thread_fn, NULL,
				 NULL, NULL, TCP_RX_THREAD_PRIORITY, 0, K_NO_WAIT);
	k_thread_name_set(rx_tid, "tcp_rx");

	return 0;
}

void tcp_transport_stop(void)
{
	if (!atomic_get(&running)) {
		return;
	}

	atomic_set(&running, 0);
	close_client();

	if (server_sock >= 0) {
		zsock_close(server_sock);
		server_sock = -1;
	}

	if (rx_tid) {
		k_thread_abort(rx_tid);
		rx_tid = NULL;
	}
}

int tcp_transport_restart(void)
{
	if (!listen_port) {
		return -EINVAL;
	}

	tcp_transport_stop();
	return tcp_transport_start(listen_port, cb_connect, cb_data, cb_disconnect, cb_user_ctx);
}

int tcp_transport_send(const uint8_t *data, size_t len)
{
	if (client_sock < 0) {
		return -ENOTCONN;
	}

	int n = zsock_send(client_sock, data, len, 0);
	if (n < 0) {
		return -errno;
	}
	return n;
}
```

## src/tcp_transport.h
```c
#pragma once

#include <stddef.h>
#include <stdint.h>

typedef void (*tcp_on_data_cb_t)(const uint8_t *data, size_t len, void *user_ctx);
typedef void (*tcp_on_connect_cb_t)(void *user_ctx);
typedef void (*tcp_on_disconnect_cb_t)(void *user_ctx);

int tcp_transport_start(uint16_t port, tcp_on_connect_cb_t on_connect, tcp_on_data_cb_t on_data,
			tcp_on_disconnect_cb_t on_disconnect, void *user_ctx);
void tcp_transport_stop(void);
int tcp_transport_restart(void);

int tcp_transport_send(const uint8_t *data, size_t len);

/* Force-close current client (keeps server running and returns to accept) */
void tcp_transport_disconnect_client(void);
```

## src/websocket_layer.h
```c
#pragma once

#include <stdbool.h>
#include <stddef.h>
#include <stdint.h>

typedef enum {
	WS_STATE_HANDSHAKE = 0,
	WS_STATE_OPEN,
	WS_STATE_CLOSED,
} ws_state_t;

typedef enum {
	WS_REQUEST_INVALID = -1,
	WS_REQUEST_INCOMPLETE = 0,
	WS_REQUEST_WEBSOCKET = 1,
	WS_REQUEST_HTTP = 2,
} ws_request_kind_t;

int ws_classify_request(const uint8_t *rx_data, size_t len, char *sec_key_out,
			size_t sec_key_out_size);

int ws_build_handshake_response(const char *sec_key, uint8_t *tx_buf, size_t tx_buf_size);

int ws_build_http_response_headers(uint8_t *tx_buf, size_t tx_buf_size, const char *status,
				   const char *content_type, size_t body_len);

int ws_parse_frame(const uint8_t *raw, size_t raw_len, uint8_t *payload_out,
		   size_t payload_out_size, uint16_t *opcode_out);

size_t ws_build_frame(uint8_t *out, size_t out_size, uint8_t opcode, const uint8_t *payload,
		      size_t payload_len, bool mask);
```

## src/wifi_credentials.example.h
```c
#ifndef WIFI_CREDENTIALS_EXAMPLE_H
#define WIFI_CREDENTIALS_EXAMPLE_H

#define WIFI_MGR_SSID "SET_WIFI_SSID"
#define WIFI_MGR_PSK "SET_WIFI_PASSWORD"

#endif /* WIFI_CREDENTIALS_EXAMPLE_H */
```

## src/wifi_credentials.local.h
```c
#ifndef WIFI_CREDENTIALS_LOCAL_H
#define WIFI_CREDENTIALS_LOCAL_H

#define WIFI_MGR_SSID "Robotics-2.4G"
#define WIFI_MGR_PSK "C0nnect@806"

#endif /* WIFI_CREDENTIALS_LOCAL_H */
```
